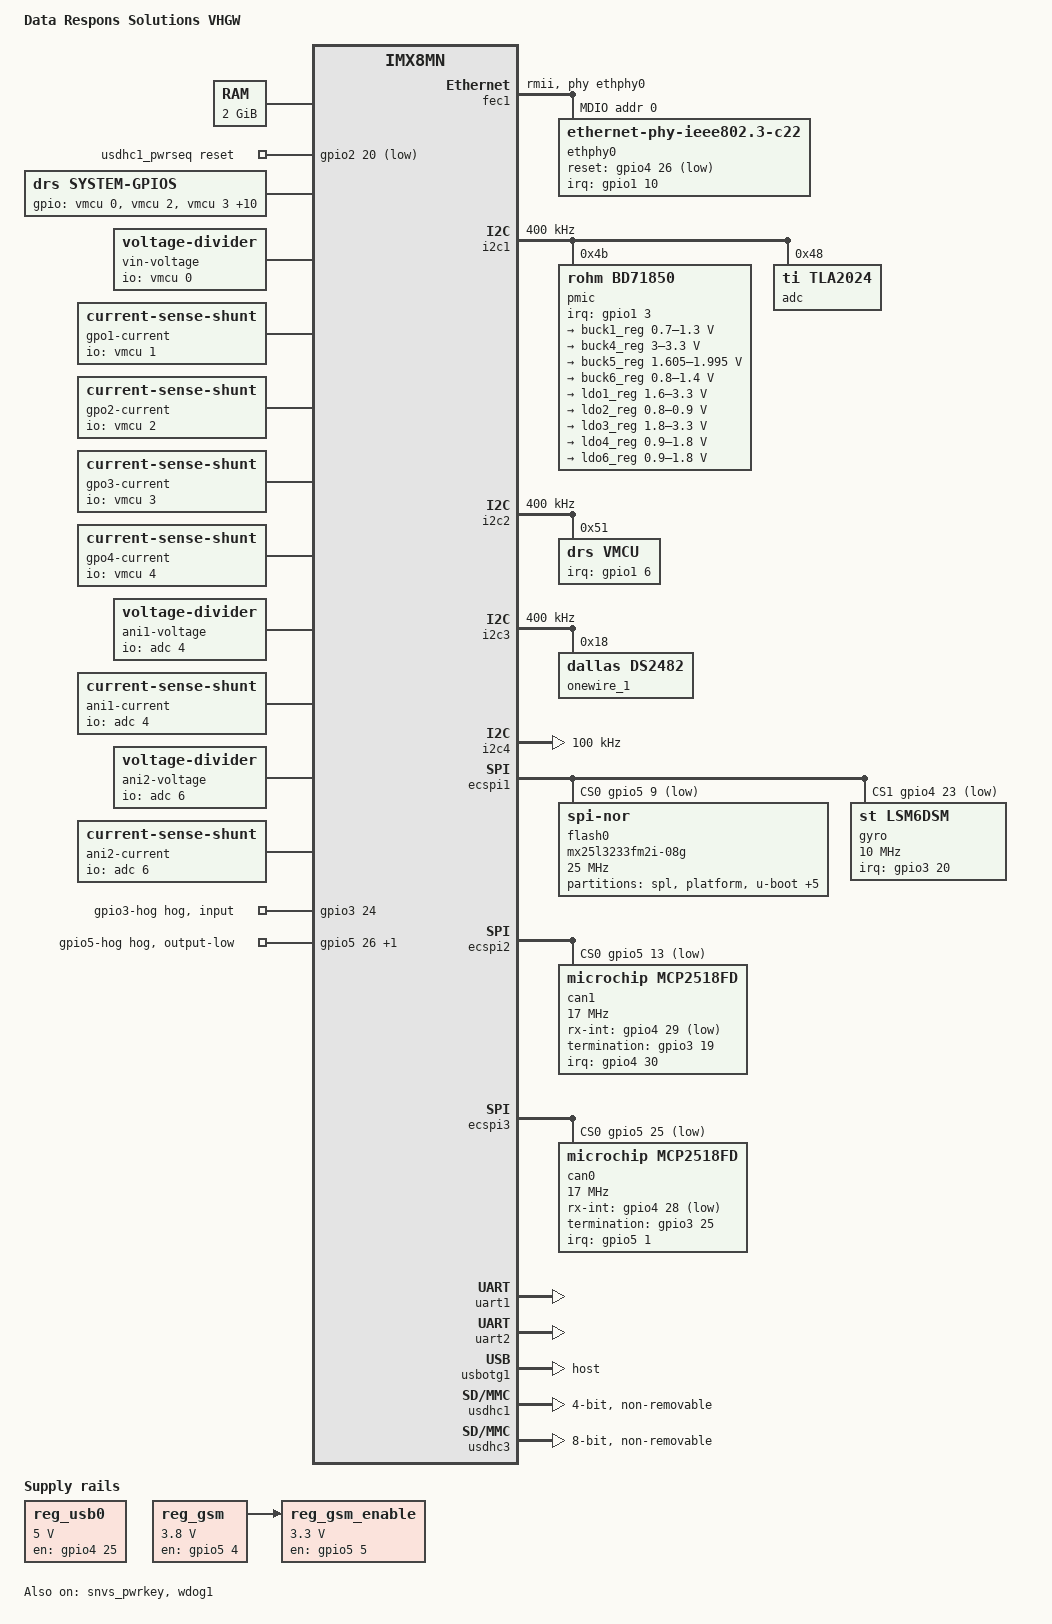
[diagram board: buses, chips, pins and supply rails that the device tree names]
/*
 * Copyright DATA RESPONS AB
 *
 * The code contained herein is licensed under the GNU General Public
 * License. You may obtain a copy of the GNU General Public License
 * Version 2 or later at the following locations:
 *
 * http://www.opensource.org/licenses/gpl-license.html
 * http://www.gnu.org/copyleft/gpl.html
 */

/dts-v1/;

#include <dt-bindings/interrupt-controller/irq.h>
#include "imx8mn.dtsi"

/ {
	model = "Data Respons Solutions VHGW";
	compatible = "drs,vhgw", "fsl,imx8mn";

	chosen {
		stdout-path = &uart2;
	};

	aliases {
		rtc0 = &vmcu;
		rtc1 = &snvs_rtc;
		/* Set mmc as first device for ctgw compatibility */
		mmc0 = &usdhc3;
		mmc1 = &usdhc1;
		/* console as ttymxc0, lc as ttymxc2, mcu on ttymxc3 for ctgw compatibility */
		serial0 = &uart2;
		serial1 = &uart3;
		serial2 = &uart1;
		serial3 = &uart4;
	};

	memory@40000000 {
		device_type = "memory";
		reg = <0x0 0x40000000 0 0x80000000>;
	};

	/*
	 * The fdt overlay, provided by optee and applied
	 * by u-boot on this fdt should describe memory regions
	 * reserved for optee.
	 * However mainline u-boot does not support this operation
	 * for our version of optee. We do it here.
	 */
	reserved-memory {
		ranges;
		#size-cells = <0x00000002>;
		#address-cells = <0x00000002>;
		optee_core@56000000 {
			no-map;
			reg = <0x00000000 0x56000000 0x00000000 0x01e00000>;
		};
	};
	reserved-memory {
		ranges;
		#size-cells = <0x00000002>;
		#address-cells = <0x00000002>;
		optee_shm@57e00000 {
			no-map;
			reg = <0x00000000 0x57e00000 0x00000000 0x00200000>;
		};
	};

	usdhc1_pwrseq: usdhc1_pwrseq {
		compatible = "mmc-pwrseq-simple";
		pinctrl-names = "default";
		pinctrl-0 = <&pinctrl_usdhc1_pwrseq>;
		reset-gpios = <&gpio2 20 GPIO_ACTIVE_LOW>;
		clocks = <&osc_32k>;
		clock-names = "ext_clock";
	};

	reg_usb0: regulator-usb0 {
		compatible = "regulator-fixed";
		pinctrl-names = "default";
		pinctrl-0 = <&pinctrl_reg_usb0>;
		regulator-name = "usb0";
		regulator-min-microvolt = <5000000>;
		regulator-max-microvolt = <5000000>;
		gpio = <&gpio4 25 GPIO_ACTIVE_HIGH>;
		enable-active-high;
		regulator-always-on;
		regulator-boot-on;
	};

	reg_gsm: regulator-gsm {
		compatible = "regulator-fixed";
		pinctrl-names = "default";
		pinctrl-0 = <&pinctrl_reg_gsm>;
		regulator-name = "gsm-3v8";
		regulator-min-microvolt = <3800000>;
		regulator-max-microvolt = <3800000>;
		gpio = <&gpio5 4 GPIO_ACTIVE_HIGH>;
		startup-delay-us = <500000>;
		enable-active-high;
	};

	reg_gsm_enable: regulator-gsm-enable {
		compatible = "regulator-fixed";
		pinctrl-names = "default";
		pinctrl-0 = <&pinctrl_reg_gsm_enable>;
		regulator-name = "gsm-enable";
		regulator-min-microvolt = <3300000>;
		regulator-max-microvolt = <3300000>;
		gpio = <&gpio5 5 GPIO_ACTIVE_HIGH>;
		startup-delay-us = <650000>;
		off-on-delay-us = <1000000>;
		enable-active-high;
		regulator-always-on;
		vin-supply = <&reg_gsm>;
	};

	can0_clk: clock-can0 {
		compatible = "fixed-clock";
		#clock-cells = <0>;
		clock-frequency = <40000000>;
	};

	can1_clk: clock-can1 {
		compatible = "fixed-clock";
		#clock-cells = <0>;
		clock-frequency = <40000000>;
	};

	system-gpios {
		pinctrl-names = "default";
		pinctrl-0 = <&pinctrl_system>;
		compatible = "drs,system-gpios";

		gpios =
			<&vmcu 0 GPIO_ACTIVE_HIGH>,
			<&vmcu 2 GPIO_ACTIVE_HIGH>,
			<&vmcu 3 GPIO_ACTIVE_HIGH>,
			<&vmcu 4 GPIO_ACTIVE_HIGH>,
			<&vmcu 5 GPIO_ACTIVE_HIGH>,
			<&gpio3 22 GPIO_ACTIVE_HIGH>,
			<&gpio3 23 GPIO_ACTIVE_HIGH>,
			<&gpio4 24 GPIO_ACTIVE_LOW>,
			<&gpio1 11 GPIO_ACTIVE_HIGH>,
			<&gpio1 14 GPIO_ACTIVE_HIGH>,
			<&gpio1 12 GPIO_ACTIVE_HIGH>,
			<&gpio5 2 GPIO_ACTIVE_LOW>,
			<&gpio1 8 GPIO_ACTIVE_HIGH>;

		gpio-line-names =
			"sys_ignition",
			"sys_gpo1",
			"sys_gpo2",
			"sys_gpo3",
			"sys_gpo4",
			"sys_ani1_current",
			"sys_ani2_current",
			"sys_flash_wp",
			"sys_gpi1",
			"sys_gpi2",
			"sys_gpi3",
			"sys_usb_hub_rst",
			"sys_vmcu_rst";
	};

	vin-voltage {
		compatible = "voltage-divider";
		io-channels = <&vmcu 0>;
		output-ohms = <10000>;
		full-ohms = <112000>;
	};

	gpo1-current {
		compatible = "current-sense-shunt";
		io-channels = <&vmcu 1>;
		shunt-resistor-micro-ohms = <5000000>;
	};

	gpo2-current {
		compatible = "current-sense-shunt";
		io-channels = <&vmcu 2>;
		shunt-resistor-micro-ohms = <5000000>;
	};

	gpo3-current {
		compatible = "current-sense-shunt";
		io-channels = <&vmcu 3>;
		shunt-resistor-micro-ohms = <5000000>;
	};

	gpo4-current {
		compatible = "current-sense-shunt";
		io-channels = <&vmcu 4>;
		shunt-resistor-micro-ohms = <5000000>;
	};

	ani1-voltage {
		compatible = "voltage-divider";
		io-channels = <&adc 4>;
		output-ohms = <390>;
		full-ohms = <2190>;
	};

	ani1-current {
		compatible = "current-sense-shunt";
		io-channels = <&adc 4>;
		shunt-resistor-micro-ohms = <91000000>;
	};

	ani2-voltage {
		compatible = "voltage-divider";
		io-channels = <&adc 6>;
		output-ohms = <390>;
		full-ohms = <2190>;
	};

	ani2-current {
		compatible = "current-sense-shunt";
		io-channels = <&adc 6>;
		shunt-resistor-micro-ohms = <91000000>;
	};
};

/* Job rings 0 and 2 are reserved by optee.
 * The fdt overlay, provided by optee and applied
 * by u-boot on this fdt should set status = disabled.
 * However mainline u-boot does not support overriding
 * the job rings. We do it here.
 */
&sec_jr0 {
	status = "disabled";
};
&sec_jr2 {
	status = "disabled";
};

&A53_0 {
	cpu-supply = <&buck1_reg>;
};

&A53_1 {
	cpu-supply = <&buck1_reg>;
};

&A53_2 {
	cpu-supply = <&buck1_reg>;
};

&A53_3 {
	cpu-supply = <&buck1_reg>;
};

&a53_opp_table {
	/* iMX8MN UltraLite can't reduce a53 core voltage
	 * as it's combined with VDD_SOC */
	opp-1200000000 {
		opp-microvolt = <950000>;
	};
};

&ddrc {
	operating-points-v2 = <&ddrc_opp_table>;

	ddrc_opp_table: opp-table {
		compatible = "operating-points-v2";

		opp-25M {
			opp-hz = /bits/ 64 <25000000>;
		};

		opp-100M {
			opp-hz = /bits/ 64 <100000000>;
		};

		opp-800M {
			opp-hz = /bits/ 64 <800000000>;
		};
	};
};

&gpio3 {
	pinctrl-names = "default";
	pinctrl-0 = <&pinctrl_gpio3_hog>;

	gpio3-hog {
		gpio-hog;
		gpios = <24 GPIO_ACTIVE_HIGH>;
		input;
	};
};

&gpio5 {
	pinctrl-names = "default";
	pinctrl-0 = <&pinctrl_gpio5_hog>;

	gpio5-hog {
		gpio-hog;
		gpios = <26 GPIO_ACTIVE_HIGH>,
				<27 GPIO_ACTIVE_HIGH>;
		output-low;
	};
};

&fec1 {
	pinctrl-names = "default";
	pinctrl-0 = <&pinctrl_fec1>;
	phy-mode = "rmii";
	phy-handle = <&ethphy0>;
	status = "okay";
	/* Set ref clk as 50MHz */
	assigned-clock-parents = <&clk IMX8MN_SYS_PLL1_266M>,
				 <&clk IMX8MN_SYS_PLL2_100M>,
				 <&clk IMX8MN_SYS_PLL2_50M>,
				 <&clk IMX8MN_SYS_PLL2_50M>;
	assigned-clock-rates = <0>, <100000000>, <50000000>, <0>;
	/* Output ref clk to PHY */
	fsl,ref-clk = <&gpr 0x4 0x2000>;

	mdio {
		#address-cells = <1>;
		#size-cells = <0>;

		ethphy0: ethernet-phy@0 {
			compatible = "ethernet-phy-ieee802.3-c22";
			reg = <0>;
            interrupt-parent = <&gpio1>;
            interrupts = <10 IRQ_TYPE_EDGE_FALLING>;
			reset-names = "phy";
			reset-gpios = <&gpio4 26 GPIO_ACTIVE_LOW>;
            reset-assert-us = <500>;
            reset-deassert-us = <100>;
		};
	};
};

&i2c1 {
	clock-frequency = <400000>;
	pinctrl-names = "default";
	pinctrl-0 = <&pinctrl_i2c1>;
	status = "okay";

	pmic@4b {
		compatible = "rohm,bd71850";
		reg = <0x4b>;
		pinctrl-names = "default";
		pinctrl-0 = <&pinctrl_pmic>;
		interrupt-parent = <&gpio1>;
		interrupts = <3 IRQ_TYPE_EDGE_FALLING>;
		rohm,reset-snvs-powered;

		#clock-cells = <0>;
		clocks = <&osc_32k 0>;
		clock-output-names = "clk-32k-out";

		regulators {
			buck1_reg: BUCK1 {
				regulator-name = "buck1";
				regulator-min-microvolt = <700000>;
				regulator-max-microvolt = <1300000>;
				regulator-boot-on;
				regulator-always-on;
				regulator-ramp-delay = <1250>;
			};
			/*
			buck2_reg: BUCK2 {
				regulator-name = "buck2";
				regulator-min-microvolt = <700000>;
				regulator-max-microvolt = <1300000>;
				regulator-boot-on;
				regulator-always-on;
				regulator-ramp-delay = <1250>;
			};

			buck3_reg: BUCK3 {
				// BUCK5 in datasheet
				regulator-name = "buck3";
				regulator-min-microvolt = <700000>;
				regulator-max-microvolt = <1350000>;
			};
			 */
			buck4_reg: BUCK4 {
				// BUCK6 in datasheet
				regulator-name = "buck4";
				regulator-min-microvolt = <3000000>;
				regulator-max-microvolt = <3300000>;
				regulator-boot-on;
				regulator-always-on;
			};

			buck5_reg: BUCK5 {
				// BUCK7 in datasheet
				regulator-name = "buck5";
				regulator-min-microvolt = <1605000>;
				regulator-max-microvolt = <1995000>;
				regulator-boot-on;
				regulator-always-on;
			};

			buck6_reg: BUCK6 {
				// BUCK8 in datasheet
				regulator-name = "buck6";
				regulator-min-microvolt = <800000>;
				regulator-max-microvolt = <1400000>;
				regulator-boot-on;
				regulator-always-on;
			};

			ldo1_reg: LDO1 {
				regulator-name = "ldo1";
				regulator-min-microvolt = <1600000>;
				regulator-max-microvolt = <3300000>;
				regulator-boot-on;
				regulator-always-on;
			};

			ldo2_reg: LDO2 {
				regulator-name = "ldo2";
				regulator-min-microvolt = <800000>;
				regulator-max-microvolt = <900000>;
				regulator-boot-on;
				regulator-always-on;
			};

			ldo3_reg: LDO3 {
				regulator-name = "ldo3";
				regulator-min-microvolt = <1800000>;
				regulator-max-microvolt = <3300000>;
				regulator-boot-on;
				regulator-always-on;
			};

			ldo4_reg: LDO4 {
				regulator-name = "ldo4";
				regulator-min-microvolt = <900000>;
				regulator-max-microvolt = <1800000>;
				regulator-boot-on;
				regulator-always-on;
			};

			ldo6_reg: LDO6 {
				regulator-name = "ldo6";
				regulator-min-microvolt = <900000>;
				regulator-max-microvolt = <1800000>;
				regulator-boot-on;
				regulator-always-on;
			};
		};
	};

	adc: tla2024@48 {
		compatible = "ti,tla2024";
		reg = <0x48>;
		#io-channel-cells = <1>;
		#address-cells = <1>;
		#size-cells = <0>;

		channel@4 {
			reg = <4>;
			ti,gain = <1>; /* +/- 4.096 V */
			ti,datarate = <0>;
		};

		channel@6 {
			reg = <6>;
			ti,gain = <1>; /* +/- 4.096 V */
			ti,datarate = <0>;
		};
	};
};

&i2c2 {
	clock-frequency = <400000>;
	pinctrl-names = "default";
	pinctrl-0 = <&pinctrl_i2c2>;
	status = "okay";

	vmcu: vmcu@51 {
		compatible = "drs,vmcu";
		reg = <0x51>;
		pinctrl-names = "default";
		pinctrl-0 = <&pinctrl_vmcu>;
		#io-channel-cells = <1>;
		#gpio-cells = <2>;
		gpio-controller;
		interrupt-parent = <&gpio1>;
		interrupts = <6 IRQ_TYPE_EDGE_FALLING>, <9 IRQ_TYPE_LEVEL_LOW>;
		interrupt-names = "irq", "shutdown";
	};

};

&i2c3 {
	clock-frequency = <400000>;
	pinctrl-names = "default";
	pinctrl-0 = <&pinctrl_i2c3>;
	status = "okay";

	onewire_1: ds2482@18 {
		reg = <0x18>;
		compatible = "dallas,ds2482";
	};
};

&i2c4 {
	/* ATECC608B only supports 100KHz */
	clock-frequency = <100000>;
	pinctrl-names = "default";
	pinctrl-0 = <&pinctrl_i2c4>;
	status = "okay";
};

&ecspi1 {
	pinctrl-names = "default";
	pinctrl-0 = <&pinctrl_ecspi1>;
	cs-gpios = <&gpio5 9 GPIO_ACTIVE_LOW>, <&gpio4 23 GPIO_ACTIVE_LOW>;
	status = "okay";

	flash0: mx25l3233fm2i-08g@0 {
		reg = <0>;
		#address-cells = <1>;
		#size-cells = <1>;
		compatible = "jedec,spi-nor";
		spi-max-frequency = <25000000>;

		partitions {
			compatible = "fixed-partitions";
			#address-cells = <1>;
			#size-cells = <1>;

			spl@0 {
				label = "spl";
				reg = <0x000000 0x040000>;
			};

			platform@40000 {
				label = "platform";
				reg = <0x040000 0x010000>;
				read-only;
			};

			u-boot@50000 {
				label = "u-boot";
				reg = <0x050000 0x1A0000>;
			};

			u-boot-second@1F0000 {
				label = "u-boot-second";
				reg = <0x1F0000 0x1A0000>;
			};

			system_a@390000 {
				label = "system_a";
				reg = <0x390000 0x010000>;
			};

			system_b@3A0000 {
				label = "system_b";
				reg = <0x3A0000 0x010000>;
			};

			user_a@3B0000 {
				label = "user_a";
				reg = <0x3B0000 0x010000>;
			};

			user_b@3C0000 {
				label = "user_b";
				reg = <0x3C0000 0x010000>;
			};
		};
	};

	gyro: st-gyro-spi@1 {
		reg = <1>;
		compatible = "st,lsm6dsm";
		pinctrl-names = "default";
		pinctrl-0 = <&pinctrl_gyro>;
		spi-max-frequency = <10000000>;
		interrupt-parent = <&gpio3>;
		interrupts = <20 IRQ_TYPE_EDGE_RISING>, <21 IRQ_TYPE_EDGE_RISING>;
	};
};

&ecspi2 {
	pinctrl-names = "default";
	pinctrl-0 = <&pinctrl_ecspi2>;
	cs-gpios = <&gpio5 13 GPIO_ACTIVE_LOW>;
	status = "okay";

	can1: can@0 {
		compatible = "microchip,mcp2518fd";
		reg = <0>;
		clocks = <&can1_clk>;
		pinctrl-names = "default";
		pinctrl-0 = <&pinctrl_can1>;
		spi-max-frequency = <17000000>;
		interrupt-parent = <&gpio4>;
		interrupts = <30 IRQ_TYPE_LEVEL_LOW>;
		microchip,rx-int-gpios = <&gpio4 29 GPIO_ACTIVE_LOW>;
	    termination-gpios = <&gpio3 19 GPIO_ACTIVE_HIGH>;
		termination-ohms = <120>;
	};
};

&ecspi3 {
	pinctrl-names = "default";
	pinctrl-0 = <&pinctrl_ecspi3>;
	cs-gpios = <&gpio5 25 GPIO_ACTIVE_LOW>;
	status = "okay";

	can0: can@0 {
		compatible = "microchip,mcp2518fd";
		reg = <0>;
		clocks = <&can0_clk>;
		pinctrl-names = "default";
		pinctrl-0 = <&pinctrl_can0>;
		spi-max-frequency = <17000000>;
		interrupt-parent = <&gpio5>;
		interrupts = <1 IRQ_TYPE_LEVEL_LOW>;
		microchip,rx-int-gpios = <&gpio4 28 GPIO_ACTIVE_LOW>;
	    termination-gpios = <&gpio3 25 GPIO_ACTIVE_HIGH>;
		termination-ohms = <120>;
	};
};

&snvs_pwrkey {
	status = "okay";
};

&uart1 { /* lc */
	pinctrl-names = "default";
	pinctrl-0 = <&pinctrl_uart1>;
	status = "okay";
};
&uart2 { /* console */
	pinctrl-names = "default";
	pinctrl-0 = <&pinctrl_uart2>;
	status = "okay";
};

&uart3 { /* bluetooth */
	pinctrl-names = "default";
	pinctrl-0 = <&pinctrl_uart3>;
	uart-has-rtscts;
};

&uart4 { /* vmcu */
	pinctrl-names = "default";
	pinctrl-0 = <&pinctrl_uart4>;
};

&usbotg1 {
	dr_mode = "host";
	disable-over-current;
	status = "okay";
};

&usdhc1 {
	assigned-clocks = <&clk IMX8MN_CLK_USDHC2>;
	assigned-clock-rates = <200000000>;
	pinctrl-names = "default", "state_100mhz", "state_200mhz";
	pinctrl-0 = <&pinctrl_usdhc1>;
	pinctrl-1 = <&pinctrl_usdhc1_100mhz>;
	pinctrl-2 = <&pinctrl_usdhc1_200mhz>;
	bus-width = <4>;
	non-removable;
	mmc-pwrseq = <&usdhc1_pwrseq>;
	status = "okay";
};

&usdhc3 {
	assigned-clocks = <&clk IMX8MN_CLK_USDHC3_ROOT>;
	assigned-clock-rates = <400000000>;
	pinctrl-names = "default", "state_100mhz", "state_200mhz";
	pinctrl-0 = <&pinctrl_usdhc3>;
	pinctrl-1 = <&pinctrl_usdhc3_100mhz>;
	pinctrl-2 = <&pinctrl_usdhc3_200mhz>;
	bus-width = <8>;
	non-removable;
	status = "okay";
};

&wdog1 {
	pinctrl-names = "default";
	pinctrl-0 = <&pinctrl_wdog>;
	fsl,ext-reset-output;
	status = "okay";
};

&iomuxc {
#if 0
   /* UNUSED PINS */
	MX8MN_IOMUXC_SD2_DATA0_GPIO2_IO15	0x0 /* WnDisable-GSM */
	MX8MN_IOMUXC_SD2_CMD_GPIO2_IO14		0x0 /* WAKEUP_IN-GSM */
	MX8MN_IOMUXC_GPIO1_IO04_GPIO1_IO4	0x0 /* GP-Status--CPU */
	MX8MN_IOMUXC_GPIO1_IO05_GPIO1_IO5	0x0 /* GP-MCU_BOOT0_SEL */
	MX8MN_IOMUXC_GPIO1_IO07_GPIO1_IO7	0x0 /* GP-EN--BUCK_5V-CPU */
	MX8MN_IOMUXC_GPIO1_IO13_USB1_OTG_OC 0x0 /* USB_OTG_OC */
#endif

	pinctrl_reg_usb0: usb0reggrp {
		fsl,pins = <
			MX8MN_IOMUXC_SAI2_TXC_GPIO4_IO25	0x100 /* USB_OTG_PWR_EN */
		>;
	};

	pinctrl_reg_gsm: gsmreggrp {
		fsl,pins = <
			MX8MN_IOMUXC_SPDIF_RX_GPIO5_IO4	0x0 /* GP_EN-PWR_GSM */
		>;
	};

	pinctrl_reg_gsm_enable: gsmenablereggrp {
		fsl,pins = <
			MX8MN_IOMUXC_SPDIF_EXT_CLK_GPIO5_IO5	0x0 /* GP_PWRKEY-GSM */
		>;
	};

	pinctrl_gpio3_hog: gpiohog3grp {
		fsl,pins = <
			MX8MN_IOMUXC_SAI5_RXD3_GPIO3_IO24	0x0 /* STATUS-GSM */
		>;
	};

	pinctrl_gpio5_hog: gpiohog5grp {
		fsl,pins = <
			MX8MN_IOMUXC_UART3_RXD_GPIO5_IO26	0x0 /* CAN_A-S */
			MX8MN_IOMUXC_UART3_TXD_GPIO5_IO27	0x0 /* CAN_B-S */
		>;
	};

	pinctrl_fec1: fec1grp {
		fsl,pins = <
			MX8MN_IOMUXC_ENET_MDC_ENET1_MDC				0x2 /* RMII_MDC-ETH_A */
			MX8MN_IOMUXC_ENET_MDIO_ENET1_MDIO			0x2 /* RMII_MDC-ETH_A */
			MX8MN_IOMUXC_ENET_TX_CTL_ENET1_RGMII_TX_CTL	0x16 /* RMII_TXEN-ETH_A */
			MX8MN_IOMUXC_ENET_TXC_ENET1_TX_ER			0x16 /* RMII_TXC-ETH_A */
			MX8MN_IOMUXC_ENET_TD0_ENET1_RGMII_TD0		0x16 /* RMII_TXD0-ETH_A */
			MX8MN_IOMUXC_ENET_TD1_ENET1_RGMII_TD1		0x16 /* RMII_TXD1-ETH_A */
			MX8MN_IOMUXC_ENET_TD2_CCMSRCGPCMIX_ENET_REF_CLK_ROOT 0x16 /* REF_CLKF-ETH_A */
			MX8MN_IOMUXC_ENET_RX_CTL_ENET1_RGMII_RX_CTL	0x80 /* RMII_RXDV-ETH_A */
			MX8MN_IOMUXC_ENET_RXC_ENET1_RX_ER			0x80 /* RMII_RXER-ETH_A */
			MX8MN_IOMUXC_ENET_RD0_ENET1_RGMII_RD0		0x80 /* RMII_RXD0-ETH_A */
			MX8MN_IOMUXC_ENET_RD1_ENET1_RGMII_RD1		0x80 /* RMII_RXD1-ETH_A */
			MX8MN_IOMUXC_GPIO1_IO10_GPIO1_IO10			0x80 /* nINT-ETH_A */
			MX8MN_IOMUXC_SAI2_TXD0_GPIO4_IO26			0x0 /* nRST-ETH_A */
		>;
	};

	pinctrl_system: systemgrp {
		fsl,pins = <
			MX8MN_IOMUXC_SAI5_RXD1_GPIO3_IO22	0x0 /* EN--4-20mA_ANI_1 */
			MX8MN_IOMUXC_SAI5_RXD2_GPIO3_IO23	0x0 /* EN--4-20mA_ANI_2 */
			MX8MN_IOMUXC_SAI2_TXFS_GPIO4_IO24	0x0 /* WP_Flash */
			MX8MN_IOMUXC_GPIO1_IO11_GPIO1_IO11	0x80 /* GPI_1--PCA */
			MX8MN_IOMUXC_GPIO1_IO12_GPIO1_IO12	0x80 /* GPI_3--PCA */
			MX8MN_IOMUXC_GPIO1_IO14_GPIO1_IO14	0x80 /* GPI_2--PCA */
			MX8MN_IOMUXC_SAI3_MCLK_GPIO5_IO2	0x20 /* USB_HUB1_nRESET */
			MX8MN_IOMUXC_GPIO1_IO08_GPIO1_IO8	0x0 /* GP-NRST--MCU1 */
		>;
	};

	pinctrl_i2c1: i2c1grp {
		fsl,pins = <
			MX8MN_IOMUXC_I2C1_SCL_I2C1_SCL		0x400001c3 /* I2C1_SCL */
			MX8MN_IOMUXC_I2C1_SDA_I2C1_SDA		0x400001c3 /* I2C1_SDA */
		>;
	};

	pinctrl_i2c2: i2c2grp {
		fsl,pins = <
			MX8MN_IOMUXC_I2C2_SCL_I2C2_SCL		0x400001c3 /* I2C2_SCL */
			MX8MN_IOMUXC_I2C2_SDA_I2C2_SDA		0x400001c3 /* I2C2_SDA */
		>;
	};

	pinctrl_i2c3: i2c3grp {
		fsl,pins = <
			MX8MN_IOMUXC_I2C3_SCL_I2C3_SCL		0x400001c3 /* I2C3_SCL */
			MX8MN_IOMUXC_I2C3_SDA_I2C3_SDA		0x400001c3 /* I2C3_SDA */
		>;
	};

	pinctrl_i2c4: i2c4grp {
		fsl,pins = <
			MX8MN_IOMUXC_I2C4_SCL_I2C4_SCL		0x400001c3 /* I2C4_SCL */
			MX8MN_IOMUXC_I2C4_SDA_I2C4_SDA		0x400001c3 /* I2C4_SDA */
		>;
	};

	pinctrl_pmic: pmicirqgrp {
		fsl,pins = <
			MX8MN_IOMUXC_GPIO1_IO03_GPIO1_IO3	0x140 /* PMIC_nINT */
		>;
	};

	pinctrl_vmcu: vmcugrp {
		fsl,pins = <
			MX8MN_IOMUXC_GPIO1_IO06_GPIO1_IO6	0x140 /* GPO-nINT--MCU */
			MX8MN_IOMUXC_GPIO1_IO09_GPIO1_IO9	0x140 /* GPO-nINT2-MCU */
		>;
	};

	pinctrl_uart1: uart1grp {
		fsl,pins = <
			MX8MN_IOMUXC_SAI2_RXFS_UART1_DCE_TX			0x80 /* UART_TXD-LC */
			MX8MN_IOMUXC_SAI2_RXC_UART1_DCE_RX			0x0 /* UART_RXD-LC */
		>;
	};

	pinctrl_uart2: uart2grp {
		fsl,pins = <
			MX8MN_IOMUXC_SAI3_TXFS_UART2_DCE_RX		0x0 /* UART_TXD-CPU */
			MX8MN_IOMUXC_SAI3_TXC_UART2_DCE_TX		0x80 /* UART_RXD-CPU */
		>;
	};

	pinctrl_uart3: uart3grp {
		fsl,pins = <
			MX8MN_IOMUXC_SD1_DATA6_UART3_DCE_TX			0x0 /* BT_UART_RXD_I */
			MX8MN_IOMUXC_SD1_DATA7_UART3_DCE_RX			0x80 /* BT_UART_TXD_O */
			MX8MN_IOMUXC_SD1_RESET_B_UART3_DCE_RTS_B	0x0 /* BT_UART_nRTS_O */
			MX8MN_IOMUXC_SD1_STROBE_UART3_DCE_CTS_B		0x80 /* BT_UART_nCTS_I */
		>;
	};

	pinctrl_uart4: uart4grp {
		fsl,pins = <
			MX8MN_IOMUXC_UART4_RXD_UART4_DCE_RX			0x80 /* UART_RX-CoCPU */
			MX8MN_IOMUXC_UART4_TXD_UART4_DCE_TX			0x0 /* UART_TX-CoCPU */
		>;
	};

	pinctrl_ecspi1: ecspi1grp {
		fsl,pins = <
			MX8MN_IOMUXC_ECSPI1_SCLK_ECSPI1_SCLK	0x94 /* ECSPI1_SCLK-Flash */
			MX8MN_IOMUXC_ECSPI1_MISO_ECSPI1_MISO	0x94 /* ECSPI1_MISO-Flash */
			MX8MN_IOMUXC_ECSPI1_MOSI_ECSPI1_MOSI	0x94 /* ECSPI1_MOSI-Flash */
			MX8MN_IOMUXC_ECSPI1_SS0_GPIO5_IO9		0x0 /* ECSPI1_SS0-Flash */
			MX8MN_IOMUXC_SAI2_RXD0_GPIO4_IO23		0x0 /* SPI_CS-ACC */
		>;
	};

	pinctrl_ecspi2: ecspi2grp {
		fsl,pins = <
			MX8MN_IOMUXC_ECSPI2_SCLK_ECSPI2_SCLK	0x94 /* SPI_SCLK-CAN_B */
			MX8MN_IOMUXC_ECSPI2_MISO_ECSPI2_MISO	0x94 /* SPI_MISO-CAN_B */
			MX8MN_IOMUXC_ECSPI2_MOSI_ECSPI2_MOSI	0x94 /* SPI_MOSI-CAN_B */
			MX8MN_IOMUXC_ECSPI2_SS0_GPIO5_IO13		0x0 /* SPI_SS0-CAN_B */
		>;
	};

	pinctrl_ecspi3: ecspi3grp {
		fsl,pins = <
			MX8MN_IOMUXC_UART1_RXD_ECSPI3_SCLK		0x94 /* SPI_SCLK-CAN_A */
			MX8MN_IOMUXC_UART2_RXD_ECSPI3_MISO		0x94 /* SPI_MISO-CAN_A */
			MX8MN_IOMUXC_UART1_TXD_ECSPI3_MOSI		0x94 /* SPI_MOSI-CAN_A */
			MX8MN_IOMUXC_UART2_TXD_GPIO5_IO25		0x0 /* SPI_SS0-CAN_A */
		>;
	};

	pinctrl_gyro: gyrogrp {
		fsl,pins = <
			MX8MN_IOMUXC_SAI5_RXC_GPIO3_IO20	0x140 /* INT1_ACC--CPU */
			MX8MN_IOMUXC_SAI5_RXD0_GPIO3_IO21	0x140 /* INT2_ACC--CPU */
		>;
	};

	pinctrl_can0: can0grp {
		fsl,pins = <
			MX8MN_IOMUXC_SAI3_TXD_GPIO5_IO1		0x140 /* CAN_A-nINT */
			MX8MN_IOMUXC_SAI3_RXFS_GPIO4_IO28	0x140 /* CAN_A-nINT1 */
			MX8MN_IOMUXC_SAI5_MCLK_GPIO3_IO25	0x0 /* CAN_A-IMP_EN */
		>;
	};

	pinctrl_can1: can1grp {
		fsl,pins = <
			MX8MN_IOMUXC_SAI3_RXD_GPIO4_IO30	0x140 /* CAN_B-nINT */
			MX8MN_IOMUXC_SAI3_RXC_GPIO4_IO29	0x140 /* CAN_B-nINT1 */
			MX8MN_IOMUXC_SAI5_RXFS_GPIO3_IO19	0x0 /* CAN_B-IMP_EN */
		>;
	};

	pinctrl_usdhc1_pwrseq: usdhc1pwrseqgrp{
		fsl,pins = <
			MX8MN_IOMUXC_SD2_WP_GPIO2_IO20	0x0 /* GP-EN_PWR-WL */
			MX8MN_IOMUXC_GPIO1_IO00_ANAMIX_REF_CLK_32K	0x0 /* REF_CLK_32K */
		>;
	};

	pinctrl_usdhc1: usdhc1grp {
		fsl,pins = <
			MX8MN_IOMUXC_SD1_CLK_USDHC1_CLK		0x40000090 /* SD_CLK-WiFi_R */
			MX8MN_IOMUXC_SD1_CMD_USDHC1_CMD		0x1d0 /* SD_CMD-WiFi */
			MX8MN_IOMUXC_SD1_DATA0_USDHC1_DATA0	0x1d0 /* SD_DAT0-WiFi */
			MX8MN_IOMUXC_SD1_DATA1_USDHC1_DATA1	0x1d0 /* SD_DAT1-WiFi */
			MX8MN_IOMUXC_SD1_DATA2_USDHC1_DATA2	0x1d0 /* SD_DAT2-WiFi */
			MX8MN_IOMUXC_SD1_DATA3_USDHC1_DATA3	0x1d0 /* SD_DAT3-WiFi */
		>;
	};

	pinctrl_usdhc1_100mhz: usdhc1-100mhzgrp {
		fsl,pins = <
			MX8MN_IOMUXC_SD1_CLK_USDHC1_CLK		0x40000094 /* SD_CLK-WiFi_R */
			MX8MN_IOMUXC_SD1_CMD_USDHC1_CMD		0x1d4 /* SD_CMD-WiFi */
			MX8MN_IOMUXC_SD1_DATA0_USDHC1_DATA0	0x1d4 /* SD_DAT0-WiFi */
			MX8MN_IOMUXC_SD1_DATA1_USDHC1_DATA1	0x1d4 /* SD_DAT1-WiFi */
			MX8MN_IOMUXC_SD1_DATA2_USDHC1_DATA2	0x1d4 /* SD_DAT2-WiFi */
			MX8MN_IOMUXC_SD1_DATA3_USDHC1_DATA3	0x1d4 /* SD_DAT3-WiFi */
		>;
	};

	pinctrl_usdhc1_200mhz: usdhc1-200mhzgrp {
		fsl,pins = <
			MX8MN_IOMUXC_SD1_CLK_USDHC1_CLK		0x40000096 /* SD_CLK-WiFi_R */
			MX8MN_IOMUXC_SD1_CMD_USDHC1_CMD		0x1d6 /* SD_CMD-WiFi */
			MX8MN_IOMUXC_SD1_DATA0_USDHC1_DATA0	0x1d6 /* SD_DAT0-WiFi */
			MX8MN_IOMUXC_SD1_DATA1_USDHC1_DATA1	0x1d6 /* SD_DAT1-WiFi */
			MX8MN_IOMUXC_SD1_DATA2_USDHC1_DATA2	0x1d6 /* SD_DAT2-WiFi */
			MX8MN_IOMUXC_SD1_DATA3_USDHC1_DATA3	0x1d6 /* SD_DAT3-WiFi */
		>;
	};

	pinctrl_usdhc3: usdhc3grp {
		fsl,pins = <
			MX8MN_IOMUXC_NAND_CE1_B_USDHC3_STROBE	0x90 /* SD-STROBE-eMMC */
			MX8MN_IOMUXC_NAND_CE2_B_USDHC3_DATA5	0x1d0 /* SD-D5-eMMC */
			MX8MN_IOMUXC_NAND_CE3_B_USDHC3_DATA6	0x1d0 /* SD-D6-eMMC */
			MX8MN_IOMUXC_NAND_CLE_USDHC3_DATA7		0x1d0 /* SD-D7-eMMC */
			MX8MN_IOMUXC_NAND_RE_B_USDHC3_DATA4		0x1d0 /* SD-D4-eMMC */
			MX8MN_IOMUXC_NAND_WE_B_USDHC3_CLK		0x40000090 /* SD-CLK-eMMC */
			MX8MN_IOMUXC_NAND_WP_B_USDHC3_CMD		0x1d0 /* SD-CMD-eMMC */
			MX8MN_IOMUXC_NAND_DATA04_USDHC3_DATA0	0x1d0 /* SD-D0-eMMC */
			MX8MN_IOMUXC_NAND_DATA05_USDHC3_DATA1	0x1d0 /* SD-D1-eMMC */
			MX8MN_IOMUXC_NAND_DATA06_USDHC3_DATA2	0x1d0 /* SD-D2-eMMC */
			MX8MN_IOMUXC_NAND_DATA07_USDHC3_DATA3	0x1d0 /* SD-D3-eMMC */
		>;
	};

	pinctrl_usdhc3_100mhz: usdhc3-100mhzgrp {
		fsl,pins = <
			MX8MN_IOMUXC_NAND_CE1_B_USDHC3_STROBE	0x94 /* SD-STROBE-eMMC */
			MX8MN_IOMUXC_NAND_CE2_B_USDHC3_DATA5	0x1d4 /* SD-D5-eMMC */
			MX8MN_IOMUXC_NAND_CE3_B_USDHC3_DATA6	0x1d4 /* SD-D6-eMMC */
			MX8MN_IOMUXC_NAND_CLE_USDHC3_DATA7		0x1d4 /* SD-D7-eMMC */
			MX8MN_IOMUXC_NAND_RE_B_USDHC3_DATA4		0x1d4 /* SD-D4-eMMC */
			MX8MN_IOMUXC_NAND_WE_B_USDHC3_CLK		0x40000094 /* SD-CLK-eMMC */
			MX8MN_IOMUXC_NAND_WP_B_USDHC3_CMD		0x1d4 /* SD-CMD-eMMC */
			MX8MN_IOMUXC_NAND_DATA04_USDHC3_DATA0	0x1d4 /* SD-D0-eMMC */
			MX8MN_IOMUXC_NAND_DATA05_USDHC3_DATA1	0x1d4 /* SD-D1-eMMC */
			MX8MN_IOMUXC_NAND_DATA06_USDHC3_DATA2	0x1d4 /* SD-D2-eMMC */
			MX8MN_IOMUXC_NAND_DATA07_USDHC3_DATA3	0x1d4 /* SD-D3-eMMC */
		>;
	};

	pinctrl_usdhc3_200mhz: usdhc3-200mhzgrp {
		fsl,pins = <
			MX8MN_IOMUXC_NAND_CE1_B_USDHC3_STROBE	0x96 /* SD-STROBE-eMMC */
			MX8MN_IOMUXC_NAND_CE2_B_USDHC3_DATA5	0x1d6 /* SD-D5-eMMC */
			MX8MN_IOMUXC_NAND_CE3_B_USDHC3_DATA6	0x1d6 /* SD-D6-eMMC */
			MX8MN_IOMUXC_NAND_CLE_USDHC3_DATA7		0x1d6 /* SD-D7-eMMC */
			MX8MN_IOMUXC_NAND_RE_B_USDHC3_DATA4		0x1d6 /* SD-D4-eMMC */
			MX8MN_IOMUXC_NAND_WE_B_USDHC3_CLK		0x40000096 /* SD-CLK-eMMC */
			MX8MN_IOMUXC_NAND_WP_B_USDHC3_CMD		0x1d6 /* SD-CMD-eMMC */
			MX8MN_IOMUXC_NAND_DATA04_USDHC3_DATA0	0x1d6 /* SD-D0-eMMC */
			MX8MN_IOMUXC_NAND_DATA05_USDHC3_DATA1	0x1d6 /* SD-D1-eMMC */
			MX8MN_IOMUXC_NAND_DATA06_USDHC3_DATA2	0x1d6 /* SD-D2-eMMC */
			MX8MN_IOMUXC_NAND_DATA07_USDHC3_DATA3	0x1d6 /* SD-D3-eMMC */
		>;
	};

	pinctrl_wdog: wdoggrp {
		fsl,pins = <
			MX8MN_IOMUXC_GPIO1_IO02_WDOG1_WDOG_B	0x166 /* WDOG_B */
		>;
	};
};
